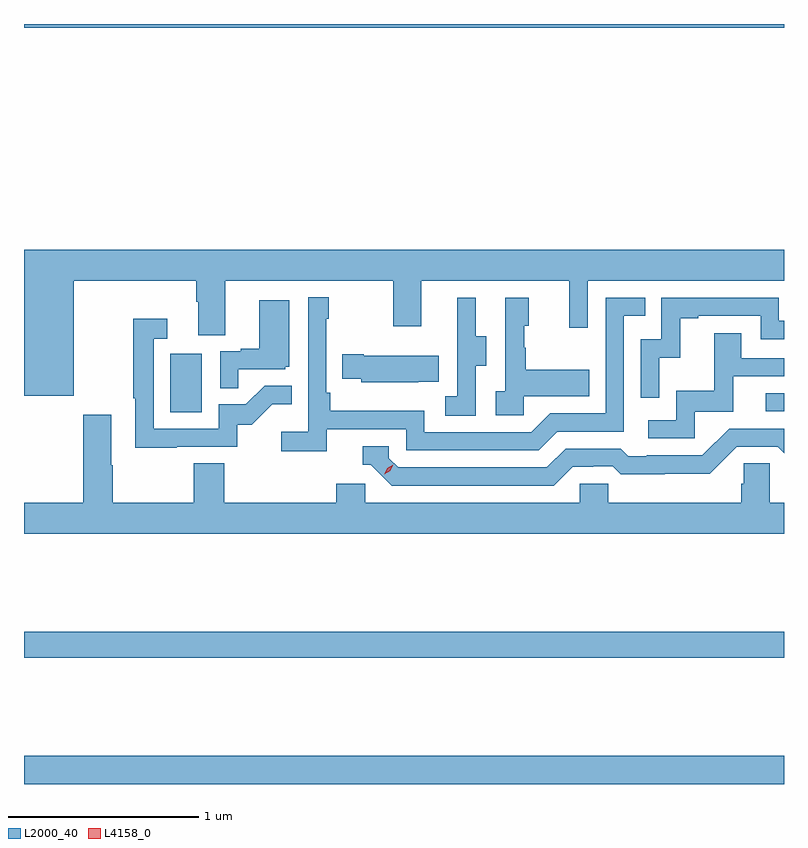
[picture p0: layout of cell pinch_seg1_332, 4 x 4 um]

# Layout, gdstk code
import gdstk
lib = gdstk.Library(unit=1e-6, precision=1e-09)
def R(c, l, rs):  # rectangles x0, y0, x1, y1
    for r in rs: c.add(gdstk.rectangle(r[:2], r[2:], *l))
def P(c, l, *ps):  # polygons
    for p in ps: c.add(gdstk.Polygon(p, *l))
L2000_40 = (2000, 40)
L4158_0 = (4158, 0)

pinch_seg1_332 = lib.new_cell('pinch_seg1_332')
R(pinch_seg1_332, L2000_40, [(993.497,545.087,997.497,545.236), (993.497,545.752,997.497,545.888), (994.268,547.044,994.432,547.351), (997.401,547.05,997.497,547.143), (993.497,549.068,997.497,549.087)])
P(pinch_seg1_332, L2000_40, [(993.76,547.736),(994.403,547.736),(994.403,547.624),(994.415,547.624),(994.415,547.45),(994.555,547.45),(994.555,547.736),(995.44,547.736),(995.44,547.497),(995.587,547.497),(995.587,547.736),(996.368,547.736),(996.368,547.488),(996.465,547.488),(996.465,547.736),(997.497,547.736),(997.497,547.9),(993.497,547.9),(993.497,547.13),(993.76,547.13)],
  [(995.09,546.954),(995.508,546.954),(995.508,546.843),(996.205,546.843),(996.304,546.942),(996.654,546.942),(996.654,547.551),(996.767,547.551),(996.767,547.647),(996.558,547.647),(996.558,547.038),(996.267,547.038),(996.168,546.939),(995.604,546.939),(995.604,547.051),(995.108,547.051),(995.108,547.147),(995.088,547.147),(995.088,547.535),(995.101,547.535),(995.101,547.648),(994.992,547.648),(994.992,546.94),(994.851,546.94),(994.851,546.838),(995.09,546.838)],
  [(996.84,547.331),(996.95,547.331),(996.95,547.539),(997.045,547.539),(997.045,547.551),(997.374,547.551),(997.374,547.428),(997.497,547.428),(997.497,547.524),(997.47,547.524),(997.47,547.647),(996.852,547.647),(996.852,547.428),(996.744,547.428),(996.744,547.119),(996.84,547.119)],
  [(996.126,547.127),(996.473,547.127),(996.473,547.267),(996.139,547.267),(996.139,547.382),(996.129,547.382),(996.129,547.5),(996.154,547.5),(996.154,547.645),(996.03,547.645),(996.03,547.154),(995.979,547.154),(995.979,547.029),(996.126,547.029)],
  [(995.874,547.288),(995.929,547.288),(995.929,547.443),(995.875,547.443),(995.875,547.645),(995.777,547.645),(995.777,547.431),(995.778,547.431),(995.778,547.127),(995.715,547.127),(995.715,547.024),(995.874,547.024)],
  [(994.625,547.269),(994.872,547.269),(994.872,547.284),(994.894,547.284),(994.894,547.633),(994.736,547.633),(994.736,547.378),(994.637,547.378),(994.637,547.365),(994.53,547.365),(994.53,547.171),(994.625,547.171)],
  [(994.301,546.861),(994.62,546.861),(994.62,546.978),(994.696,546.978),(994.803,547.085),(994.907,547.085),(994.907,547.184),(994.763,547.184),(994.665,547.086),(994.521,547.086),(994.521,546.957),(994.179,546.957),(994.179,547.431),(994.252,547.431),(994.252,547.537),(994.071,547.537),(994.071,547.117),(994.083,547.117),(994.083,546.856),(994.301,546.856)],
  [(997.026,547.047),(997.231,547.047),(997.231,547.233),(997.497,547.233),(997.497,547.329),(997.273,547.329),(997.273,547.459),(997.129,547.459),(997.129,547.156),(996.93,547.156),(996.93,547.002),(996.783,547.002),(996.783,546.906),(997.026,546.906)],
  [(995.573,547.205),(995.681,547.205),(995.681,547.342),(995.284,547.342),(995.284,547.35),(995.173,547.35),(995.173,547.22),(995.271,547.22),(995.271,547.202),(995.573,547.202)],
  [(997.497,546.568),(997.422,546.568),(997.422,546.776),(997.285,546.776),(997.285,546.666),(997.271,546.666),(997.271,546.568),(996.573,546.568),(996.573,546.666),(996.423,546.666),(996.423,546.568),(995.292,546.568),(995.292,546.666),(995.141,546.666),(995.141,546.568),(994.55,546.568),(994.55,546.776),(994.39,546.776),(994.39,546.568),(993.963,546.568),(993.963,546.764),(993.955,546.764),(993.955,547.03),(993.808,547.03),(993.808,546.568),(993.497,546.568),(993.497,546.404),(997.497,546.404)],
  [(996.385,546.756),(996.492,546.756),(996.492,546.759),(996.595,546.759),(996.637,546.717),(996.87,546.717),(996.87,546.719),(997.106,546.719),(997.248,546.861),(997.464,546.861),(997.497,546.828),(997.497,546.957),(997.209,546.957),(997.068,546.816),(996.775,546.816),(996.775,546.813),(996.676,546.813),(996.637,546.852),(996.348,546.852),(996.249,546.753),(995.466,546.753),(995.418,546.801),(995.418,546.864),(995.279,546.864),(995.279,546.768),(995.322,546.768),(995.433,546.657),(996.286,546.657)])
P(pinch_seg1_332, L4158_0, [(995.394,546.716),(995.394,546.716),(995.41,546.748),(995.441,546.768),(995.441,546.768),(995.441,546.767),(995.425,546.735),(995.394,546.716)])

lib.write_gds('pinch_seg1_332.gds')
